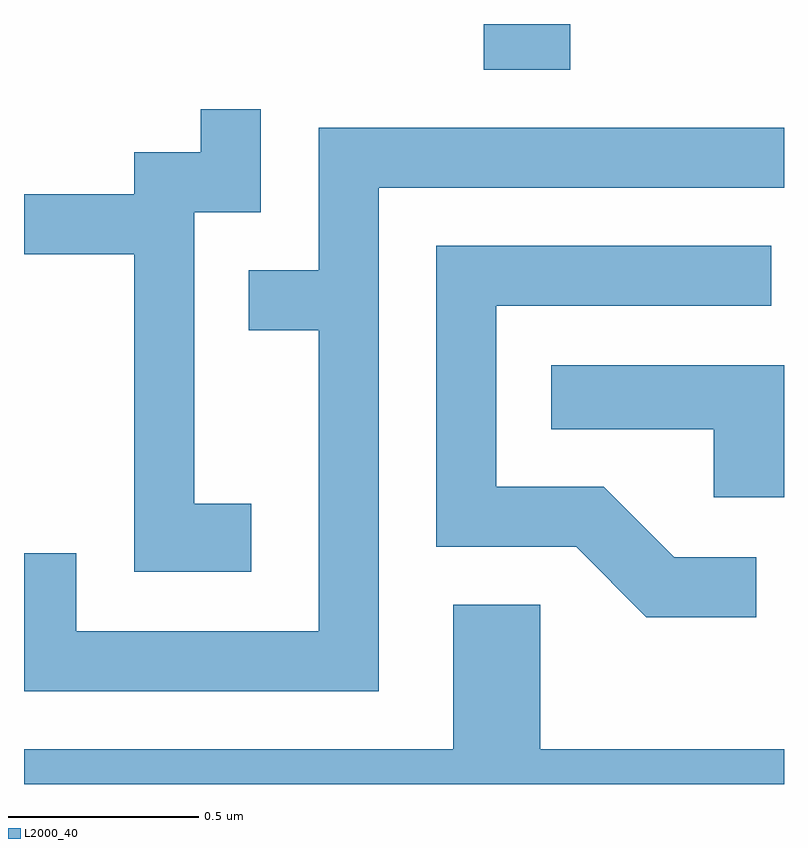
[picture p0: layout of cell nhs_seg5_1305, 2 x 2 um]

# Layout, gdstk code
import gdstk
lib = gdstk.Library(unit=1e-6, precision=1e-09)
def R(c, l, rs):  # rectangles x0, y0, x1, y1
    for r in rs: c.add(gdstk.rectangle(r[:2], r[2:], *l))
def P(c, l, *ps):  # polygons
    for p in ps: c.add(gdstk.Polygon(p, *l))
L2000_40 = (2000, 40)

nhs_seg5_1305 = lib.new_cell('nhs_seg5_1305')
R(nhs_seg5_1305, L2000_40, [(195.821,1469.951,196.049,1470.072)])
P(nhs_seg5_1305, L2000_40, [(195.209,1468.809),(195.059,1468.809),(195.059,1469.576),(195.234,1469.576),(195.234,1469.848),(195.076,1469.848),(195.076,1469.734),(194.901,1469.734),(194.901,1469.624),(194.611,1469.624),(194.611,1469.466),(194.901,1469.466),(194.901,1468.631),(195.209,1468.631)],
  [(195.544,1469.641),(196.611,1469.641),(196.611,1469.799),(195.386,1469.799),(195.386,1469.424),(195.203,1469.424),(195.203,1469.266),(195.386,1469.266),(195.386,1468.474),(194.749,1468.474),(194.749,1468.679),(194.611,1468.679),(194.611,1468.316),(195.544,1468.316)],
  [(196.538,1468.669),(196.322,1468.669),(196.137,1468.854),(195.854,1468.854),(195.854,1469.331),(196.578,1469.331),(196.578,1469.489),(195.696,1469.489),(195.696,1468.696),(196.064,1468.696),(196.249,1468.511),(196.538,1468.511)],
  [(196.611,1469.174),(195.998,1469.174),(195.998,1469.006),(196.426,1469.006),(196.426,1468.826),(196.611,1468.826)],
  [(196.611,1468.164),(195.969,1468.164),(195.969,1468.544),(195.741,1468.544),(195.741,1468.164),(194.611,1468.164),(194.611,1468.072),(196.611,1468.072)])

lib.write_gds('nhs_seg5_1305.gds')
